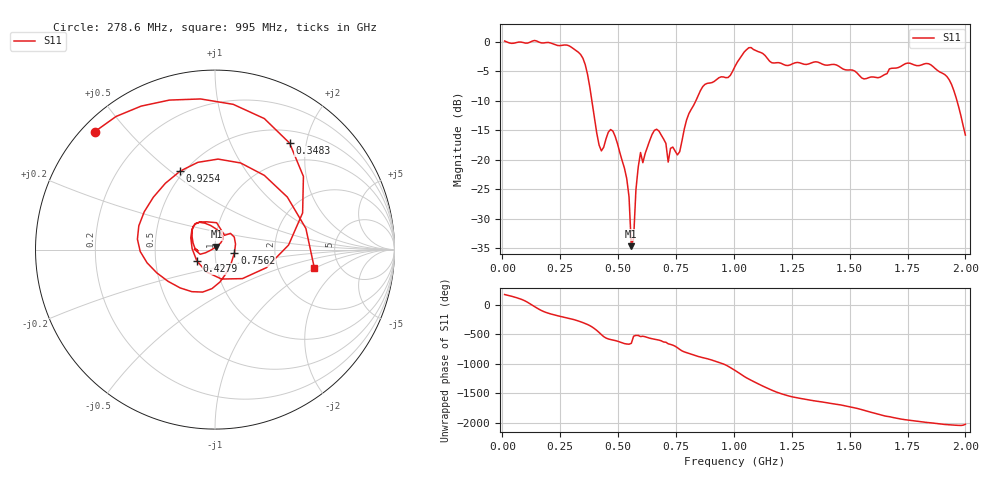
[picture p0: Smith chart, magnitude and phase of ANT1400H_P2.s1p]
!Created with skrf (http://scikit-rf.org).
# Hz S RI R 50.0
!freq ReS11 ImS11
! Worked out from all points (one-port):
!   201 points, 10 MHz to 2 GHz, reference 50 ohm
!   lowest |S11| = -34.7 dB at 557.2 MHz (marker M1), VSWR 1.04, Z = 50.8 + j1.69 ohm
!   |S11| at or under -10 dB: 386.7 MHz to 836.1 MHz (449.3 MHz wide, 73.5 % of centre); 1.964 GHz to end of sweep
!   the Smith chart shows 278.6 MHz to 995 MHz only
!   S11 on the Smith chart (normalised r, x): 278.6 MHz: 0.04, +0.41; 348.3 MHz: 0.69, +1.71; 427.9 MHz: 0.81, -0.10; 756.2 MHz: 1.24, -0.05; 925.4 MHz: 0.48, +0.54; 995 MHz: 3.25, -1.00
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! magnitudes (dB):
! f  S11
! 10 MHz  0.1
! 258.8 MHz  -0.6
! 278.6 MHz  -0.6
! 348.3 MHz  -2.8
! 427.9 MHz  -18.5
! 467.7 MHz  -14.9
! 507.5 MHz  -18.8
! 547.3 MHz  -26.3
! 557.2 MHz  -34.7
! 567.2 MHz  -33.3
! 577.1 MHz  -25.1
! 597 MHz  -18.8
! 607 MHz  -20.5
! 666.7 MHz  -14.8
! 706.5 MHz  -17.2
! 716.5 MHz  -20.4
! 726.4 MHz  -18.1
! 756.2 MHz  -19.2
! 855.8 MHz  -8.3
! 925.4 MHz  -6.4
! 995 MHz  -5.0
! 1.005 GHz  -4.2
! 1.075 GHz  -1.0
! 1.254 GHz  -3.7
! 1.502 GHz  -4.8
! 1.751 GHz  -3.6
! 1.92 GHz  -5.9
! 2 GHz  -15.8
